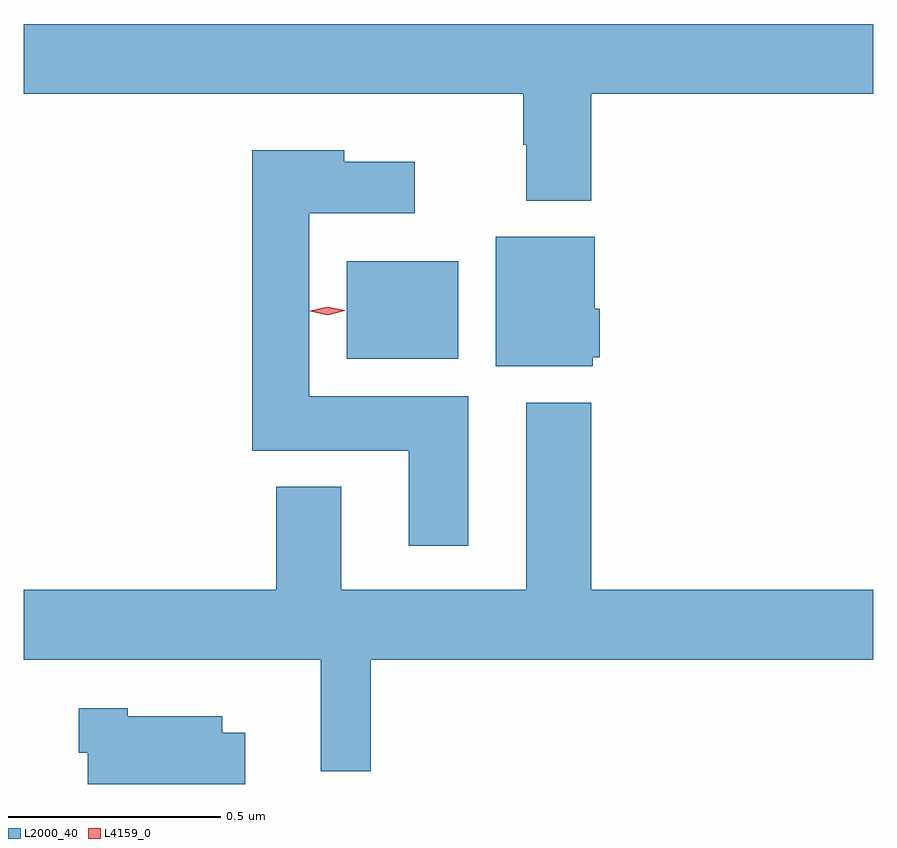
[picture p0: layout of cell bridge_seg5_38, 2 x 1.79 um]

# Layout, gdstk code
import gdstk
lib = gdstk.Library(unit=1e-6, precision=1e-09)
def R(c, l, rs):  # rectangles x0, y0, x1, y1
    for r in rs: c.add(gdstk.rectangle(r[:2], r[2:], *l))
def P(c, l, *ps):  # polygons
    for p in ps: c.add(gdstk.Polygon(p, *l))
L2000_40 = (2000, 40)
L4159_0 = (4159, 0)

bridge_seg5_38 = lib.new_cell('bridge_seg5_38')
R(bridge_seg5_38, L2000_40, [(688.382,909.416,688.645,909.646)])
P(bridge_seg5_38, L2000_40, [(688.958,910.04),(689.622,910.04),(689.622,910.204),(687.622,910.204),(687.622,910.04),(688.798,910.04),(688.798,909.92),(688.805,909.92),(688.805,909.788),(688.958,909.788)],
  [(688.669,909.328),(688.294,909.328),(688.294,909.758),(688.543,909.758),(688.543,909.88),(688.377,909.88),(688.377,909.907),(688.16,909.907),(688.16,909.2),(688.529,909.2),(688.529,908.976),(688.669,908.976)],
  [(688.962,909.42),(688.978,909.42),(688.978,909.534),(688.966,909.534),(688.966,909.703),(688.733,909.703),(688.733,909.398),(688.962,909.398)],
  [(688.439,908.708),(689.622,908.708),(689.622,908.872),(688.958,908.872),(688.958,909.313),(688.805,909.313),(688.805,908.872),(688.369,908.872),(688.369,909.115),(688.217,909.115),(688.217,908.872),(687.622,908.872),(687.622,908.708),(688.321,908.708),(688.321,908.445),(688.439,908.445)],
  [(688.144,908.536),(688.09,908.536),(688.09,908.575),(687.867,908.575),(687.867,908.593),(687.752,908.593),(687.752,908.489),(687.773,908.489),(687.773,908.415),(688.144,908.415)])
P(bridge_seg5_38, L4159_0, [(688.338,909.519),(688.297,909.528),(688.297,909.529),(688.297,909.529),(688.337,909.539),(688.378,909.53),(688.378,909.529),(688.378,909.529)])

lib.write_gds('bridge_seg5_38.gds')
